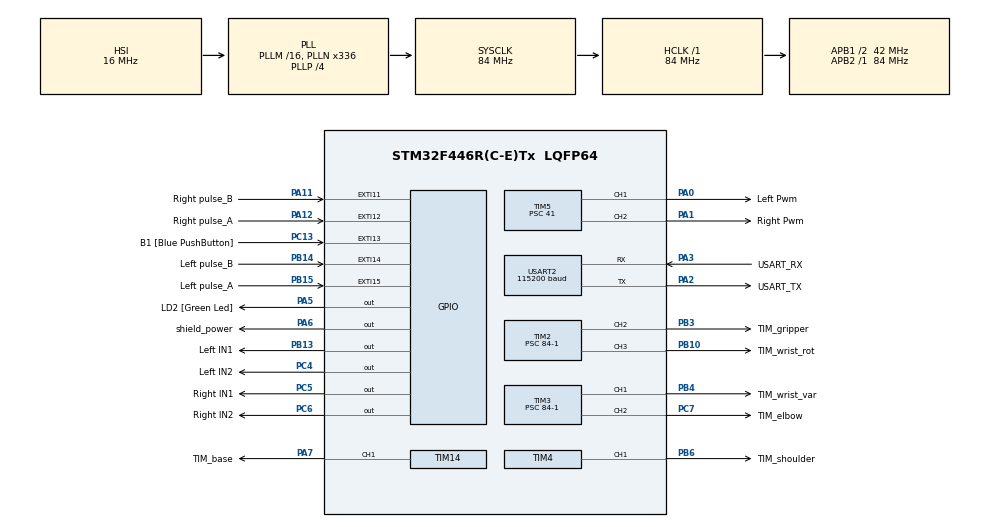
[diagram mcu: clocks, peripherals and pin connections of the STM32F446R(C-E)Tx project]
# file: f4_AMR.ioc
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Mcu.Family=STM32F4
Mcu.Name=STM32F446R(C-E)Tx
Mcu.Package=LQFP64
NVIC.EXTI15_10_IRQn=true\:0\:1\:false\:false\:true\:true\:true\:true
NVIC.PriorityGroup=NVIC_PRIORITYGROUP_0
NVIC.TIM2_IRQn=true\:0\:1\:true\:false\:true\:true\:true\:true
NVIC.TIM3_IRQn=true\:0\:1\:false\:false\:true\:true\:true\:true
NVIC.TIM4_IRQn=true\:0\:1\:false\:false\:true\:true\:true\:true
NVIC.TIM5_IRQn=true\:0\:1\:false\:false\:true\:true\:true\:true
NVIC.TIM8_TRG_COM_TIM14_IRQn=true\:0\:1\:false\:false\:true\:true\:true\:true
NVIC.USART2_IRQn=true\:0\:0\:false\:false\:true\:true\:true\:true
PA0-WKUP.GPIO_Label=Left Pwm
PA0-WKUP.Signal=S_TIM5_CH1
PA1.GPIO_Label=Right Pwm
PA1.Signal=S_TIM5_CH2
PA11.GPIO_Label=Right pulse_B
PA11.GPIO_ModeDefaultEXTI=GPIO_MODE_IT_RISING_FALLING
PA11.Signal=GPXTI11
PA12.GPIO_Label=Right pulse_A
PA12.GPIO_ModeDefaultEXTI=GPIO_MODE_IT_RISING_FALLING
PA12.GPIO_PuPd=GPIO_NOPULL
PA12.Signal=GPXTI12
PA13.GPIO_Label=TMS
PA13.Mode=Serial_Wire
PA13.Signal=SYS_JTMS-SWDIO
PA14.GPIO_Label=TCK
PA14.Mode=Serial_Wire
PA14.Signal=SYS_JTCK-SWCLK
PA2.GPIO_Label=USART_TX
PA2.Mode=Asynchronous
PA2.Signal=USART2_TX
PA3.GPIO_Label=USART_RX
PA3.Mode=Asynchronous
PA3.Signal=USART2_RX
PA5.GPIO_Label=LD2 [Green Led]
PA5.Signal=GPIO_Output
PA6.GPIO_Label=shield_power
PA6.Signal=GPIO_Output
PA7.GPIO_Label=TIM_base
PA7.Signal=S_TIM14_CH1
PB10.GPIO_Label=TIM_wrist_rot
PB10.Signal=S_TIM2_CH3
PB13.GPIO_Label=Left IN1
PB13.Signal=GPIO_Output
PB14.GPIO_Label=Left pulse_B
PB14.GPIO_ModeDefaultEXTI=GPIO_MODE_IT_RISING_FALLING
PB14.Signal=GPXTI14
PB15.GPIO_Label=Left pulse_A
PB15.GPIO_ModeDefaultEXTI=GPIO_MODE_IT_RISING_FALLING
PB15.Signal=GPXTI15
PB3.GPIO_Label=TIM_gripper
PB3.Signal=S_TIM2_CH2
PB4.GPIO_Label=TIM_wrist_var
PB4.Signal=S_TIM3_CH1
PB6.GPIO_Label=TIM_shoulder
PB6.Signal=S_TIM4_CH1
PC13.GPIO_Label=B1 [Blue PushButton]
PC13.GPIO_ModeDefaultEXTI=GPIO_MODE_IT_FALLING
PC13.Signal=GPXTI13
PC14-OSC32_IN.Mode=LSE-External-Oscillator
PC14-OSC32_IN.Signal=RCC_OSC32_IN
PC15-OSC32_OUT.Mode=LSE-External-Oscillator
PC15-OSC32_OUT.Signal=RCC_OSC32_OUT
PC4.GPIO_Label=Left IN2
PC4.Signal=GPIO_Output
PC5.GPIO_Label=Right IN1
PC5.Signal=GPIO_Output
PC6.GPIO_Label=Right IN2
PC6.Signal=GPIO_Output
PC7.GPIO_Label=TIM_elbow
PC7.Signal=S_TIM3_CH2
PH0-OSC_IN.Mode=HSE-External-Oscillator
PH0-OSC_IN.Signal=RCC_OSC_IN
PH1-OSC_OUT.Mode=HSE-External-Oscillator
PH1-OSC_OUT.Signal=RCC_OSC_OUT
ProjectManager.HeapSize=0x200
ProjectManager.StackSize=0x400
ProjectManager.TargetToolchain=STM32CubeIDE
RCC.48MHZClocksFreq_Value=84000000
RCC.AHBFreq_Value=84000000
RCC.APB1CLKDivider=RCC_HCLK_DIV2
RCC.APB1Freq_Value=42000000
RCC.APB1TimFreq_Value=84000000
RCC.APB2Freq_Value=84000000
RCC.APB2TimFreq_Value=84000000
RCC.CortexFreq_Value=84000000
RCC.FLatency-AdvancedSettings=FLASH_LATENCY_2
RCC.HCLKFreq_Value=84000000
RCC.HSE_VALUE=8000000
RCC.HSI_VALUE=16000000
RCC.PLLN=336
RCC.PLLP=RCC_PLLP_DIV4
RCC.SYSCLKFreq_VALUE=84000000
RCC.SYSCLKSource=RCC_SYSCLKSOURCE_PLLCLK
RCC.USBFreq_Value=168000000
RCC.VCOOutputFreq_Value=336000000
SH.S_TIM14_CH1.0=TIM14_CH1,PWM Generation1 CH1
SH.S_TIM2_CH2.0=TIM2_CH2,PWM Generation2 CH2
SH.S_TIM2_CH3.0=TIM2_CH3,PWM Generation3 CH3
SH.S_TIM3_CH1.0=TIM3_CH1,PWM Generation1 CH1
SH.S_TIM3_CH2.0=TIM3_CH2,PWM Generation2 CH2
SH.S_TIM4_CH1.0=TIM4_CH1,PWM Generation1 CH1
SH.S_TIM5_CH1.0=TIM5_CH1,PWM Generation1 CH1
SH.S_TIM5_CH2.0=TIM5_CH2,PWM Generation2 CH2
TIM14.Channel=TIM_CHANNEL_1
TIM14.Period=20000-1
TIM14.Prescaler=84-1
TIM2.Channel-PWM\ Generation2\ CH2=TIM_CHANNEL_2
TIM2.Channel-PWM\ Generation3\ CH3=TIM_CHANNEL_3
TIM2.Period=20000-1
TIM2.Prescaler=84-1
TIM2.Pulse-PWM\ Generation3\ CH3=0
TIM3.Channel-PWM\ Generation1\ CH1=TIM_CHANNEL_1
TIM3.Channel-PWM\ Generation2\ CH2=TIM_CHANNEL_2
TIM3.Period=20000-1
TIM3.Prescaler=84-1
TIM4.Channel-PWM\ Generation1\ CH1=TIM_CHANNEL_1
TIM4.Period=20000-1
TIM4.Prescaler=84-1
TIM5.Channel-PWM\ Generation1\ CH1=TIM_CHANNEL_1
TIM5.Channel-PWM\ Generation2\ CH2=TIM_CHANNEL_2
TIM5.Period=255
TIM5.Prescaler=41
USART2.BaudRate=115200
USART2.VirtualMode=VM_ASYNC
VP_TIM14_VS_ClockSourceINT.Mode=Enable_Timer
VP_TIM2_VS_ClockSourceINT.Mode=Internal
VP_TIM3_VS_ClockSourceINT.Mode=Internal
VP_TIM4_VS_ClockSourceINT.Mode=Internal
board=NUCLEO-F446RE

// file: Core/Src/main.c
/* USER CODE BEGIN Header */
/**
 ******************************************************************************
 * @file           : main.c
 * @brief          : Main program body
 ******************************************************************************
 * @attention
 *
 * Copyright (c) 2024 STMicroelectronics.
 * All rights reserved.
 *
 * This software is licensed under terms that can be found in the LICENSE file
 * in the root directory of this software component.
 * If no LICENSE file comes with this software, it is provided AS-IS.
 *
 ******************************************************************************
 */
/* USER CODE END Header */
#include "main.h"

/* USER CODE BEGIN Includes */
#include <stdio.h>
#include <math.h>
#include <stdlib.h>
#include <string.h>
#include "stm32f4xx.h"
/* USER CODE END Includes */

/* USER CODE BEGIN PTD */
/*SR431*/
#define MIN_PULSE 500
#define MAX_PULSE 4000

#define MOTOR1_MIN_ANGLE 0
#define MOTOR1_MAX_ANGLE 180

#define MOTOR2_MIN_ANGLE 15
#define MOTOR2_MAX_ANGLE 165

#define MOTOR3_MIN_ANGLE 0
#define MOTOR3_MAX_ANGLE 180

#define MOTOR4_MIN_ANGLE 0
#define MOTOR4_MAX_ANGLE 180

#define MOTOR5_MIN_ANGLE 0
#define MOTOR5_MAX_ANGLE 180

#define MOTOR6_MIN_ANGLE 10
#define MOTOR6_MAX_ANGLE 73

//#define MOTOR5_MIN_ANGLE 10
//#define MOTOR5_MAX_ANGLE 72
/* USER CODE END PTD */

TIM_HandleTypeDef htim2;
TIM_HandleTypeDef htim3;
TIM_HandleTypeDef htim4;
TIM_HandleTypeDef htim5;
TIM_HandleTypeDef htim14;

UART_HandleTypeDef huart2;

void SystemClock_Config(void);
static void MX_GPIO_Init(void);
static void MX_USART2_UART_Init(void);
static void MX_TIM2_Init(void);
static void MX_TIM3_Init(void);
static void MX_TIM4_Init(void);
static void MX_TIM14_Init(void);
static void MX_TIM5_Init(void);
/* USER CODE BEGIN PFP */
#ifdef __GNUC__
#define PUTCHAR_PROTOTYPE int __io_putchar(int ch)
#else
#define PUTCHAR_PROTOTYPE int fputc(int ch, FILE *f)
#endif

PUTCHAR_PROTOTYPE {
	if (ch == '\n')
		HAL_UART_Transmit(&huart2, (uint8_t*) "\r", 1, 0xFFFF);
	HAL_UART_Transmit(&huart2, (uint8_t*) &ch, 1, 0xFFFF);
	return ch;
}

void Pwm_Left(int pwm_input);
void Pwm_Right(int pwm_input);
void motorControl(int in1, int in2);
void motorControl_r(int in1, int in2);
void check_pwm() ;
void check_pwm_r() ;
void check_move_state();
void check_move_state_r();
void cmd_vel_calculate(void);
uint32_t millis(void);

float radiansToDegrees(float radians);
uint16_t angleToPulse(uint8_t angle);
uint8_t limitAngle(uint8_t angle, uint8_t minAngle, uint8_t maxAngle);
void setMotorAngle(TIM_HandleTypeDef *htim, uint32_t channel, uint8_t angle, uint8_t minAngle, uint8_t maxAngle);
/* USER CODE END PFP */

/* USER CODE BEGIN 0 */
/*********************** Debug ***********************/
double test=0;
double PI=3.14159265359;
/*********************** encoder ***********************/
int targetCount = 3172; //run one cycle
volatile long long int encoderCount = 0;    //left
volatile long long int encoderCount_r = 0;  //right

volatile long long int rpm_encoderCount = 0;
volatile long long int rpm_encoderCount_r = 0;

volatile long long int pr_encoderCount = 0;    //left
volatile long long int pr_encoderCount_r = 0;  //right

double angle = 0.00198082765043492637986295295289; //will fix

double current_angle = 0;
double target_angle = 0;
double current_angle_r = 0;
double target_angle_r = 0;

/********************** PID **************************/
float speed = 0;
float speed_r = 0;
float slowdown = 0;
float slowdown_r = 0;

float Kp = 4, Kd = 1.6, Ki = 8;
float P_term = 0, D_term = 0, I_term = 0;
float pid = 0;

float Kp_a = 5, Kd_a = 1.3, Ki_a = 6.25;
float P_term_a = 0, D_term_a = 0, I_term_a = 0;
float pid_a = 0;

float error = 0;
float previous_error = 0;
float old_error = 0;

float error_a = 0;
float previous_error_a = 0;
float old_error_a = 0;

int stop_flag = 0;
/******************** Dead Reckoning ***********************/
double car_angle = 0;
double current_x = 0;
double current_y = 0;

double last_x = 0;
double last_y = 0;
double last_th = 0;

double previous_car_angle = 0;
double previous_current_x = 0;
double previous_current_y = 0;

double setting_car_angle = 0;
double setting_x = 0;
double setting_y = 0;

double delta_s = 0;
double delta_o = 0;

double last_delta_s = 0;
double last_delta_o = 0;

double input_delta_o = 0;
double pid_delta_o = 0;

double ll = 0.33;  //will fix
double rr = 0.0625; //will fix

/******************** direction *********************/
int control_1 = 0, control_2 = 1;
int control_1_r = 1, control_2_r = 0;

int move_state = 0;  // front:0 back:1
int move_state_r = 0;

/******************** USART *********************/
char rx_buffer[256];
char rx_data;
int rx_index = 0;

char motor_buffer[49];
float motor_degree[6];

double topic_x = 0;
double topic_vth = 0;
double topic_th = 0;
double dt = 0;

double topic_vx = 0;
double topic_vy = 0;

float cmd_vel_x = 0;
float cmd_vel_y = 0;
float cmd_vel_z = 0;

float cmd_vel_s = 0;
float cmd_vel_th = 0;

/******************** Time *********************/
extern volatile uint32_t msTicks;
uint32_t time=0;

/******************** O.W *********************/
float radiansToDegrees(float radians) {
	return radians * (180.0 / M_PI);
}

uint16_t angleToPulse(uint8_t angle) {
	return (MIN_PULSE + (MAX_PULSE - MIN_PULSE) * (angle * 0.55555556) / 180);
}

uint8_t limitAngle(uint8_t angle, uint8_t minAngle, uint8_t maxAngle) {
	if (angle <= minAngle) return minAngle;
	if (angle >= maxAngle) return maxAngle;
	return angle;
}

void setMotorAngle(TIM_HandleTypeDef *htim, uint32_t channel, uint8_t angle, uint8_t minAngle, uint8_t maxAngle) {
	uint8_t limitedAngle = limitAngle(angle, minAngle, maxAngle);
	uint16_t pulse = angleToPulse(limitedAngle);
	__HAL_TIM_SET_COMPARE(htim, channel, pulse);
}
/* USER CODE END 0 */

int main(void)
{

  /* MCU Configuration--------------------------------------------------------*/

  /* Reset of all peripherals, Initializes the Flash interface and the Systick. */
  HAL_Init();

  /* Configure the system clock */
  SystemClock_Config();

  /* Initialize all configured peripherals */
  MX_GPIO_Init();
  MX_USART2_UART_Init();
  MX_TIM2_Init();
  MX_TIM3_Init();
  MX_TIM4_Init();
  MX_TIM14_Init();
  MX_TIM5_Init();
  /* USER CODE BEGIN 2 */
	HAL_GPIO_WritePin(GPIOA, shield_power_Pin, GPIO_PIN_SET);
	HAL_TIM_Base_Start_IT(&htim2);
	HAL_TIM_PWM_Start(&htim2, TIM_CHANNEL_2);
	HAL_TIM_PWM_Start(&htim2, TIM_CHANNEL_3);
	HAL_TIM_PWM_Start(&htim3, TIM_CHANNEL_1);
	HAL_TIM_PWM_Start(&htim3, TIM_CHANNEL_2);
	HAL_TIM_PWM_Start(&htim4, TIM_CHANNEL_1);
	HAL_TIM_PWM_Start(&htim14, TIM_CHANNEL_1);
	HAL_TIM_PWM_Start(&htim5, TIM_CHANNEL_1);
	HAL_TIM_PWM_Start(&htim5, TIM_CHANNEL_2);

	motorControl(control_1, control_2);
	motorControl_r(control_1_r, control_2_r);
	SystemCoreClockUpdate();
	SysTick_Config(SystemCoreClock / 1000);
	HAL_UART_Receive_IT(&huart2, (uint8_t*) &rx_data, 1);

  /* USER CODE END 2 */

  /* Infinite loop */
  /* USER CODE BEGIN WHILE */
	while (1)
	{

		motorControl(control_1, control_2);
		motorControl_r(control_1_r, control_2_r);

		Pwm_Left(abs(speed));
		Pwm_Right(abs(speed_r));

		/******************** Dead Reckoning ***********************/
		if(msTicks>=39){
			time=msTicks;
			current_angle = ((rpm_encoderCount - pr_encoderCount) * angle);
			current_angle_r = ((rpm_encoderCount_r - pr_encoderCount_r) * angle);

			pr_encoderCount=rpm_encoderCount;
			pr_encoderCount_r=rpm_encoderCount_r;

			delta_s = ((current_angle_r + current_angle) * rr) / 2;
			delta_o = ((current_angle_r - current_angle) * rr) / ll;
			input_delta_o = previous_car_angle + (delta_o / 2); //Real

			current_x = previous_current_x + cos((input_delta_o)) * delta_s;
			current_y = previous_current_y + sin((input_delta_o)) * delta_s;
			car_angle = previous_car_angle + delta_o;

			pid_delta_o = delta_o;
			dt = time;

			topic_x = delta_s/(dt / 1000.0);
			topic_th = car_angle;
			topic_vth=(car_angle-previous_car_angle)*1000/dt;

			printf("# %f %f %f %f %f %f | %f %f %f %f %f %f \n",current_x,current_y,topic_th,dt,topic_x,topic_vth, motor_degree[0], motor_degree[1], motor_degree[2], motor_degree[3], motor_degree[4], motor_degree[5]);

			previous_car_angle = car_angle;
			previous_current_x = current_x;
			previous_current_y = current_y;

			encoderCount = 0;
			encoderCount_r = 0;

			last_delta_s = sqrt((current_x - last_x) * (current_x - last_x) + (current_y - last_y) * (current_y - last_y));
			last_delta_o = (car_angle - last_th);

			/******************** PID ***********************/
			error = (cmd_vel_s - (delta_s / 0.039));
			error_a = (cmd_vel_th - (pid_delta_o / 0.039));
			P_term = (error - previous_error) * Kp;
			D_term = (error - 2 * previous_error + old_error) * Kd;
			I_term = error * Ki;
			pid = P_term + D_term + I_term;

			P_term_a = (error_a - previous_error_a) * Kp_a;
			D_term_a = (error_a - 2 * previous_error_a + old_error_a) * Kd_a;
			I_term_a = error_a * Ki_a;
			pid_a = P_term_a + D_term_a + I_term_a;
			if (stop_flag == 0) {
				speed = speed + pid - pid_a;
				speed_r = speed_r + pid + pid_a;
			} else {
				speed = speed - (speed) / 5;
				speed_r = speed_r - (speed_r) / 5;
			}

			old_error = previous_error;
			old_error_a = previous_error_a;
			previous_error = error;
			previous_error_a = error_a;

			check_pwm();
			check_pwm_r();

			check_move_state();
			check_move_state_r();

			cmd_vel_calculate();

		}

    /* USER CODE END WHILE */

	}
}

void SystemClock_Config(void)
{
  RCC_OscInitTypeDef RCC_OscInitStruct = {0};
  RCC_ClkInitTypeDef RCC_ClkInitStruct = {0};

  /** Configure the main internal regulator output voltage
  */
  __HAL_RCC_PWR_CLK_ENABLE();
  __HAL_PWR_VOLTAGESCALING_CONFIG(PWR_REGULATOR_VOLTAGE_SCALE3);

  /** Initializes the RCC Oscillators according to the specified parameters
  * in the RCC_OscInitTypeDef structure.
  */
  RCC_OscInitStruct.OscillatorType = RCC_OSCILLATORTYPE_HSI;
  RCC_OscInitStruct.HSIState = RCC_HSI_ON;
  RCC_OscInitStruct.HSICalibrationValue = RCC_HSICALIBRATION_DEFAULT;
  RCC_OscInitStruct.PLL.PLLState = RCC_PLL_ON;
  RCC_OscInitStruct.PLL.PLLSource = RCC_PLLSOURCE_HSI;
  RCC_OscInitStruct.PLL.PLLM = 16;
  RCC_OscInitStruct.PLL.PLLN = 336;
  RCC_OscInitStruct.PLL.PLLP = RCC_PLLP_DIV4;
  RCC_OscInitStruct.PLL.PLLQ = 2;
  RCC_OscInitStruct.PLL.PLLR = 2;
  if (HAL_RCC_OscConfig(&RCC_OscInitStruct) != HAL_OK)
  {
    Error_Handler();
  }

  /** Initializes the CPU, AHB and APB buses clocks
  */
  RCC_ClkInitStruct.ClockType = RCC_CLOCKTYPE_HCLK|RCC_CLOCKTYPE_SYSCLK
                              |RCC_CLOCKTYPE_PCLK1|RCC_CLOCKTYPE_PCLK2;
  RCC_ClkInitStruct.SYSCLKSource = RCC_SYSCLKSOURCE_PLLCLK;
  RCC_ClkInitStruct.AHBCLKDivider = RCC_SYSCLK_DIV1;
  RCC_ClkInitStruct.APB1CLKDivider = RCC_HCLK_DIV2;
  RCC_ClkInitStruct.APB2CLKDivider = RCC_HCLK_DIV1;

  if (HAL_RCC_ClockConfig(&RCC_ClkInitStruct, FLASH_LATENCY_2) != HAL_OK)
  {
    Error_Handler();
  }
}

static void MX_TIM2_Init(void)
{

  TIM_ClockConfigTypeDef sClockSourceConfig = {0};
  TIM_MasterConfigTypeDef sMasterConfig = {0};
  TIM_OC_InitTypeDef sConfigOC = {0};

  htim2.Instance = TIM2;
  htim2.Init.Prescaler = 84-1;
  htim2.Init.CounterMode = TIM_COUNTERMODE_UP;
  htim2.Init.Period = 20000-1;
  htim2.Init.ClockDivision = TIM_CLOCKDIVISION_DIV1;
  htim2.Init.AutoReloadPreload = TIM_AUTORELOAD_PRELOAD_DISABLE;
  if (HAL_TIM_Base_Init(&htim2) != HAL_OK)
  {
    Error_Handler();
  }
  sClockSourceConfig.ClockSource = TIM_CLOCKSOURCE_INTERNAL;
  if (HAL_TIM_ConfigClockSource(&htim2, &sClockSourceConfig) != HAL_OK)
  {
    Error_Handler();
  }
  if (HAL_TIM_PWM_Init(&htim2) != HAL_OK)
  {
    Error_Handler();
  }
  sMasterConfig.MasterOutputTrigger = TIM_TRGO_RESET;
  sMasterConfig.MasterSlaveMode = TIM_MASTERSLAVEMODE_DISABLE;
  if (HAL_TIMEx_MasterConfigSynchronization(&htim2, &sMasterConfig) != HAL_OK)
  {
    Error_Handler();
  }
  sConfigOC.OCMode = TIM_OCMODE_PWM1;
  sConfigOC.Pulse = 0;
  sConfigOC.OCPolarity = TIM_OCPOLARITY_HIGH;
  sConfigOC.OCFastMode = TIM_OCFAST_DISABLE;
  if (HAL_TIM_PWM_ConfigChannel(&htim2, &sConfigOC, TIM_CHANNEL_2) != HAL_OK)
  {
    Error_Handler();
  }
  if (HAL_TIM_PWM_ConfigChannel(&htim2, &sConfigOC, TIM_CHANNEL_3) != HAL_OK)
  {
    Error_Handler();
  }
  HAL_TIM_MspPostInit(&htim2);

}

static void MX_TIM3_Init(void)
{

  TIM_ClockConfigTypeDef sClockSourceConfig = {0};
  TIM_MasterConfigTypeDef sMasterConfig = {0};
  TIM_OC_InitTypeDef sConfigOC = {0};

  htim3.Instance = TIM3;
  htim3.Init.Prescaler = 84-1;
  htim3.Init.CounterMode = TIM_COUNTERMODE_UP;
  htim3.Init.Period = 20000-1;
  htim3.Init.ClockDivision = TIM_CLOCKDIVISION_DIV1;
  htim3.Init.AutoReloadPreload = TIM_AUTORELOAD_PRELOAD_DISABLE;
  if (HAL_TIM_Base_Init(&htim3) != HAL_OK)
  {
    Error_Handler();
  }
  sClockSourceConfig.ClockSource = TIM_CLOCKSOURCE_INTERNAL;
  if (HAL_TIM_ConfigClockSource(&htim3, &sClockSourceConfig) != HAL_OK)
  {
    Error_Handler();
  }
  if (HAL_TIM_PWM_Init(&htim3) != HAL_OK)
  {
    Error_Handler();
  }
  sMasterConfig.MasterOutputTrigger = TIM_TRGO_RESET;
  sMasterConfig.MasterSlaveMode = TIM_MASTERSLAVEMODE_DISABLE;
  if (HAL_TIMEx_MasterConfigSynchronization(&htim3, &sMasterConfig) != HAL_OK)
  {
    Error_Handler();
  }
  sConfigOC.OCMode = TIM_OCMODE_PWM1;
  sConfigOC.Pulse = 0;
  sConfigOC.OCPolarity = TIM_OCPOLARITY_HIGH;
  sConfigOC.OCFastMode = TIM_OCFAST_DISABLE;
  if (HAL_TIM_PWM_ConfigChannel(&htim3, &sConfigOC, TIM_CHANNEL_1) != HAL_OK)
  {
    Error_Handler();
  }
  if (HAL_TIM_PWM_ConfigChannel(&htim3, &sConfigOC, TIM_CHANNEL_2) != HAL_OK)
  {
    Error_Handler();
  }
  HAL_TIM_MspPostInit(&htim3);

}

static void MX_TIM4_Init(void)
{

  TIM_ClockConfigTypeDef sClockSourceConfig = {0};
  TIM_MasterConfigTypeDef sMasterConfig = {0};
  TIM_OC_InitTypeDef sConfigOC = {0};

  htim4.Instance = TIM4;
  htim4.Init.Prescaler = 84-1;
  htim4.Init.CounterMode = TIM_COUNTERMODE_UP;
  htim4.Init.Period = 20000-1;
  htim4.Init.ClockDivision = TIM_CLOCKDIVISION_DIV1;
  htim4.Init.AutoReloadPreload = TIM_AUTORELOAD_PRELOAD_DISABLE;
  if (HAL_TIM_Base_Init(&htim4) != HAL_OK)
  {
    Error_Handler();
  }
  sClockSourceConfig.ClockSource = TIM_CLOCKSOURCE_INTERNAL;
  if (HAL_TIM_ConfigClockSource(&htim4, &sClockSourceConfig) != HAL_OK)
  {
    Error_Handler();
  }
  if (HAL_TIM_PWM_Init(&htim4) != HAL_OK)
  {
    Error_Handler();
  }
  sMasterConfig.MasterOutputTrigger = TIM_TRGO_RESET;
  sMasterConfig.MasterSlaveMode = TIM_MASTERSLAVEMODE_DISABLE;
  if (HAL_TIMEx_MasterConfigSynchronization(&htim4, &sMasterConfig) != HAL_OK)
  {
    Error_Handler();
  }
  sConfigOC.OCMode = TIM_OCMODE_PWM1;
  sConfigOC.Pulse = 0;
  sConfigOC.OCPolarity = TIM_OCPOLARITY_HIGH;
  sConfigOC.OCFastMode = TIM_OCFAST_DISABLE;
  if (HAL_TIM_PWM_ConfigChannel(&htim4, &sConfigOC, TIM_CHANNEL_1) != HAL_OK)
  {
    Error_Handler();
  }
  HAL_TIM_MspPostInit(&htim4);

}

static void MX_TIM5_Init(void)
{

  TIM_MasterConfigTypeDef sMasterConfig = {0};
  TIM_OC_InitTypeDef sConfigOC = {0};

  htim5.Instance = TIM5;
  htim5.Init.Prescaler = 41;
  htim5.Init.CounterMode = TIM_COUNTERMODE_UP;
  htim5.Init.Period = 255;
  htim5.Init.ClockDivision = TIM_CLOCKDIVISION_DIV1;
  htim5.Init.AutoReloadPreload = TIM_AUTORELOAD_PRELOAD_DISABLE;
  if (HAL_TIM_PWM_Init(&htim5) != HAL_OK)
  {
    Error_Handler();
  }
  sMasterConfig.MasterOutputTrigger = TIM_TRGO_RESET;
  sMasterConfig.MasterSlaveMode = TIM_MASTERSLAVEMODE_DISABLE;
  if (HAL_TIMEx_MasterConfigSynchronization(&htim5, &sMasterConfig) != HAL_OK)
  {
    Error_Handler();
  }
  sConfigOC.OCMode = TIM_OCMODE_PWM1;
  sConfigOC.Pulse = 0;
  sConfigOC.OCPolarity = TIM_OCPOLARITY_HIGH;
  sConfigOC.OCFastMode = TIM_OCFAST_DISABLE;
  if (HAL_TIM_PWM_ConfigChannel(&htim5, &sConfigOC, TIM_CHANNEL_1) != HAL_OK)
  {
    Error_Handler();
  }
  if (HAL_TIM_PWM_ConfigChannel(&htim5, &sConfigOC, TIM_CHANNEL_2) != HAL_OK)
  {
    Error_Handler();
  }
  HAL_TIM_MspPostInit(&htim5);

}

static void MX_TIM14_Init(void)
{

  TIM_OC_InitTypeDef sConfigOC = {0};

  htim14.Instance = TIM14;
  htim14.Init.Prescaler = 84-1;
  htim14.Init.CounterMode = TIM_COUNTERMODE_UP;
  htim14.Init.Period = 20000-1;
  htim14.Init.ClockDivision = TIM_CLOCKDIVISION_DIV1;
  htim14.Init.AutoReloadPreload = TIM_AUTORELOAD_PRELOAD_DISABLE;
  if (HAL_TIM_Base_Init(&htim14) != HAL_OK)
  {
    Error_Handler();
  }
  if (HAL_TIM_PWM_Init(&htim14) != HAL_OK)
  {
    Error_Handler();
  }
  sConfigOC.OCMode = TIM_OCMODE_PWM1;
  sConfigOC.Pulse = 0;
  sConfigOC.OCPolarity = TIM_OCPOLARITY_HIGH;
  sConfigOC.OCFastMode = TIM_OCFAST_DISABLE;
  if (HAL_TIM_PWM_ConfigChannel(&htim14, &sConfigOC, TIM_CHANNEL_1) != HAL_OK)
  {
    Error_Handler();
  }
  HAL_TIM_MspPostInit(&htim14);

}

static void MX_USART2_UART_Init(void)
{

  huart2.Instance = USART2;
  huart2.Init.BaudRate = 115200;
  huart2.Init.WordLength = UART_WORDLENGTH_8B;
  huart2.Init.StopBits = UART_STOPBITS_1;
  huart2.Init.Parity = UART_PARITY_NONE;
  huart2.Init.Mode = UART_MODE_TX_RX;
  huart2.Init.HwFlowCtl = UART_HWCONTROL_NONE;
  huart2.Init.OverSampling = UART_OVERSAMPLING_16;
  if (HAL_UART_Init(&huart2) != HAL_OK)
  {
    Error_Handler();
  }

}

static void MX_GPIO_Init(void)
{
  GPIO_InitTypeDef GPIO_InitStruct = {0};

  /* GPIO Ports Clock Enable */
  __HAL_RCC_GPIOC_CLK_ENABLE();
  __HAL_RCC_GPIOH_CLK_ENABLE();
  __HAL_RCC_GPIOA_CLK_ENABLE();
  __HAL_RCC_GPIOB_CLK_ENABLE();

  /*Configure GPIO pin Output Level */
  HAL_GPIO_WritePin(GPIOA, LD2_Pin|shield_power_Pin, GPIO_PIN_RESET);

  /*Configure GPIO pin Output Level */
  HAL_GPIO_WritePin(GPIOC, Left_IN2_Pin|Right_IN1_Pin|Right_IN2_Pin, GPIO_PIN_RESET);

  /*Configure GPIO pin Output Level */
  HAL_GPIO_WritePin(Left_IN1_GPIO_Port, Left_IN1_Pin, GPIO_PIN_RESET);

  /*Configure GPIO pin : B1_Pin */
  GPIO_InitStruct.Pin = B1_Pin;
  GPIO_InitStruct.Mode = GPIO_MODE_IT_FALLING;
  GPIO_InitStruct.Pull = GPIO_NOPULL;
  HAL_GPIO_Init(B1_GPIO_Port, &GPIO_InitStruct);

  /*Configure GPIO pins : LD2_Pin shield_power_Pin */
  GPIO_InitStruct.Pin = LD2_Pin|shield_power_Pin;
  GPIO_InitStruct.Mode = GPIO_MODE_OUTPUT_PP;
  GPIO_InitStruct.Pull = GPIO_NOPULL;
  GPIO_InitStruct.Speed = GPIO_SPEED_FREQ_LOW;
  HAL_GPIO_Init(GPIOA, &GPIO_InitStruct);

  /*Configure GPIO pins : Left_IN2_Pin Right_IN1_Pin Right_IN2_Pin */
  GPIO_InitStruct.Pin = Left_IN2_Pin|Right_IN1_Pin|Right_IN2_Pin;
  GPIO_InitStruct.Mode = GPIO_MODE_OUTPUT_PP;
  GPIO_InitStruct.Pull = GPIO_NOPULL;
  GPIO_InitStruct.Speed = GPIO_SPEED_FREQ_LOW;
  HAL_GPIO_Init(GPIOC, &GPIO_InitStruct);

  /*Configure GPIO pin : Left_IN1_Pin */
  GPIO_InitStruct.Pin = Left_IN1_Pin;
  GPIO_InitStruct.Mode = GPIO_MODE_OUTPUT_PP;
  GPIO_InitStruct.Pull = GPIO_NOPULL;
  GPIO_InitStruct.Speed = GPIO_SPEED_FREQ_LOW;
  HAL_GPIO_Init(Left_IN1_GPIO_Port, &GPIO_InitStruct);

  /*Configure GPIO pins : Left_pulse_B_Pin Left_pulse_A_Pin */
  GPIO_InitStruct.Pin = Left_pulse_B_Pin|Left_pulse_A_Pin;
  GPIO_InitStruct.Mode = GPIO_MODE_IT_RISING_FALLING;
  GPIO_InitStruct.Pull = GPIO_NOPULL;
  HAL_GPIO_Init(GPIOB, &GPIO_InitStruct);

  /*Configure GPIO pins : Right_pulse_B_Pin Right_pulse_A_Pin */
  GPIO_InitStruct.Pin = Right_pulse_B_Pin|Right_pulse_A_Pin;
  GPIO_InitStruct.Mode = GPIO_MODE_IT_RISING_FALLING;
  GPIO_InitStruct.Pull = GPIO_NOPULL;
  HAL_GPIO_Init(GPIOA, &GPIO_InitStruct);

  /* EXTI interrupt init*/
  HAL_NVIC_SetPriority(EXTI15_10_IRQn, 0, 1);
  HAL_NVIC_EnableIRQ(EXTI15_10_IRQn);

}

/* USER CODE BEGIN 4 */
/**
 * @brief  PWM을 통해 모터에 입력하는 함수
 * @note   최대값 255 ->100%속도
 * @param  pwm_input: 입력되는 값.
 */
void Pwm_Left(int pwm_input) {
	htim5.Instance->CCR1 = pwm_input;
}
/**
 * @brief  PWM을 통해 모터에 입력하는 함수
 * @note   최대값 255 ->100%속도
 * @param  pwm_input: 입력되는 값.
 */
void Pwm_Right(int pwm_input) {
	htim5.Instance->CCR2 = pwm_input;
}
/**
 * @brief  4채배 엔코더 펄스 카운터
 * @note   1바퀴 = 3172=CPR*채배*기어비=13*4*61.
 * @param  GPIO_Pin: Rising edge or Falling edge 가 발생한 핀
 */
void HAL_GPIO_EXTI_Callback(uint16_t GPIO_Pin) {
	/* Prevent unused argument(s) compilation warning */

	if (GPIO_Pin == Left_pulse_A_Pin) {
		if (HAL_GPIO_ReadPin(GPIOB, Left_pulse_A_Pin)
				== HAL_GPIO_ReadPin(GPIOB, Left_pulse_B_Pin)) {
			encoderCount--;
			rpm_encoderCount--;

		} else {
			encoderCount++;
			rpm_encoderCount++;
		}
	} else if (GPIO_Pin == Left_pulse_B_Pin) {
		if (HAL_GPIO_ReadPin(GPIOB, Left_pulse_A_Pin)
				== HAL_GPIO_ReadPin(GPIOB, Left_pulse_B_Pin)) {
			encoderCount++;
			rpm_encoderCount++;
		} else {
			encoderCount--;
			rpm_encoderCount--;
		}
	}
	if (GPIO_Pin == Right_pulse_A_Pin) {
		if (HAL_GPIO_ReadPin(GPIOA, Right_pulse_A_Pin)
				== HAL_GPIO_ReadPin(GPIOA, Right_pulse_B_Pin)) {
			encoderCount_r++;
			rpm_encoderCount_r++;
		} else {
			encoderCount_r--;
			rpm_encoderCount_r--;
		}
	} else if (GPIO_Pin == Right_pulse_B_Pin) {
		if (HAL_GPIO_ReadPin(GPIOA, Right_pulse_A_Pin)
				== HAL_GPIO_ReadPin(GPIOA, Right_pulse_B_Pin)) {
			encoderCount_r--;
			rpm_encoderCount_r--;
		} else {
			encoderCount_r++;
			rpm_encoderCount_r++;
		}
	}
	UNUSED(GPIO_Pin);
	/* NOTE: This function Should not be modified, when the callback is needed,
			 the HAL_GPIO_EXTI_Callback could be implemented in the user file */
}
/**
 * @brief  모터 드라이버 제어 코드.
 * @note   1,O ->Forward 0,1->Reverse
 * @param  in1: 모터 드라이버 IN1
 * @param  in2: 모터 드라이버 IN2
 */
void motorControl(int in1, int in2) {
	GPIO_PinState state1=GPIO_PIN_RESET,state2=GPIO_PIN_RESET;
	if(in1==1){
		state1=GPIO_PIN_SET;
	}
	else{
		state1=GPIO_PIN_RESET;
	}
	if(in2==1){
		state2=GPIO_PIN_SET;
	}
	else{
		state2=GPIO_PIN_RESET;
	}
	HAL_GPIO_WritePin(GPIOB, Left_IN1_Pin, state1);
	HAL_GPIO_WritePin(GPIOC, Left_IN2_Pin, state2);

}
/**
 * @brief  모터 드라이버 제어 코드.
 * @note   1,O ->Forward 0,1->Reverse
 * @param  in1: 모터 드라이버 IN1
 * @param  in2: 모터 드라이버 IN2
 */
void motorControl_r(int in1, int in2) {
	GPIO_PinState state1=GPIO_PIN_RESET,state2=GPIO_PIN_RESET;
	if(in1==1){
		state1=GPIO_PIN_SET;
	}
	else{
		state1=GPIO_PIN_RESET;
	}
	if(in2==1){
		state2=GPIO_PIN_SET;
	}
	else{
		state2=GPIO_PIN_RESET;
	}
	HAL_GPIO_WritePin(GPIOC, Right_IN1_Pin, state1);
 	HAL_GPIO_WritePin(GPIOC, Right_IN2_Pin, state2);
}
/**
 * @brief  PWM 입력값 범위 제한 함수.
 * @note   -180 ~ 180
 */
void check_pwm() {
	if (speed >= 180) {
		speed = 180;
	} else if (speed <= -180) {
		speed = -180;
	}
}
/**
 * @brief  PWM 입력값 범위 제한 함수.
 * @note   -180 ~ 180
 */
void check_pwm_r() {
	if (speed_r >= 180) {
		speed_r = 180;
	} else if (speed_r <= -180) {
		speed_r = -180;
	}
}
/**
 * @brief  현재 입력 속도에 따라 회전 방향 변경함.
 * @note   전역변수 control_x를 수정하는 방식임
 */
void check_move_state() {
	if (speed >= 0) {
		move_state = 0;
		control_1 = 0, control_2 = 1;
	} else {
		move_state = 1;
		control_1 = 1, control_2 = 0;
	}
}
/**
 * @brief  현재 입력 속도에 따라 회전 방향 변경함.
 * @note   전역변수 control_x_r 를 수정하는 방식임
 */
void check_move_state_r() {
	if (speed_r >= 0) {
		move_state_r = 0;
		control_1_r = 1, control_2_r = 0;
	} else {
		move_state_r = 1;
		control_1_r = 0, control_2_r = 1;
	}
}
/**
 * @brief  선속도 각속도 변수전달 함수
 * @note   0,0 주어진경우 정지
 */
void cmd_vel_calculate(void) {
	cmd_vel_s = cmd_vel_x;
	cmd_vel_th = cmd_vel_z;
	if (cmd_vel_x == 0 && cmd_vel_z == 0) {
		stop_flag = 1;
	} else {
		stop_flag = 0;
	}
}
/**
 * @brief  Arduino millis와 동일한 함수
 * @note   stm32f4xx_it.c 참조
 */
uint32_t millis(void) {
	return msTicks;
}
/**
 * @brief  mstick 초기화함수
 * @note   if(msTicks>변수) -->변수 수정하면 주기 바뀜
 */
void HAL_TIM_PeriodElapsedCallback(TIM_HandleTypeDef *htim) {
	if (htim->Instance == TIM2) {
		if(msTicks>39){
			msTicks = 0;
		}
	}
}

void HAL_UART_RxCpltCallback(UART_HandleTypeDef *huart) {
	if (huart->Instance == USART2) {
		if (rx_data != '\n') {
			rx_buffer[rx_index++] = rx_data;
		}
		else {
			rx_buffer[rx_index] = '\0';
			//printf("Data: %s\n", rx_buffer);

			if (rx_buffer[0] == '1') {
				//printf("[1] Data: %s\n", rx_buffer);

				char first_number[10];

				strncpy(first_number, &rx_buffer[2], 9);
				first_number[10] = '\0';

				cmd_vel_x = atof(first_number);
				if (rx_buffer[1] == '0') { // ?��?��?�� 경우
					cmd_vel_x = -cmd_vel_x;
				}

				char second_number[10];
				strncpy(second_number, &rx_buffer[12], 9);
				second_number[10] = '\0';

				cmd_vel_z = atof(second_number);
				if (rx_buffer[11] == '0') { // ?��?��?�� 경우
					cmd_vel_z = -cmd_vel_z;
				}
			}
			else if (rx_buffer[0] == '2') {
				//printf("[2] Data: %s\n", rx_buffer);

				//Data_import
				for (int i = 0; i < 48; i++) {
					motor_buffer[i] = rx_buffer[i + 1];
				}

				//Slicing Data and char to float
				for (int i = 0; i < 6; i++) {
					char temp[9];

					for (int j = 0; j < 8; j++) {
						temp[j] = motor_buffer[i * 8 + j];
					}
					temp[8] = '\0';

					motor_degree[i] = radiansToDegrees(atof(temp));;
				}

				//move motor
				setMotorAngle(&htim14, TIM_CHANNEL_1, motor_degree[0], MOTOR1_MIN_ANGLE, MOTOR1_MAX_ANGLE);
				setMotorAngle(&htim4, TIM_CHANNEL_1, motor_degree[1], MOTOR2_MIN_ANGLE, MOTOR2_MAX_ANGLE);
				setMotorAngle(&htim3, TIM_CHANNEL_2, motor_degree[2], MOTOR3_MIN_ANGLE, MOTOR3_MAX_ANGLE);
				setMotorAngle(&htim2, TIM_CHANNEL_3, motor_degree[3], MOTOR4_MIN_ANGLE, MOTOR4_MAX_ANGLE);
				setMotorAngle(&htim3, TIM_CHANNEL_1, motor_degree[4], MOTOR5_MIN_ANGLE, MOTOR5_MAX_ANGLE);
				setMotorAngle(&htim2, TIM_CHANNEL_2, motor_degree[5], MOTOR6_MIN_ANGLE, MOTOR6_MAX_ANGLE);
			}
			else if (rx_buffer[0] == '3') {
				NVIC_SystemReset();

			}

			//reset huart2 buffer
			rx_index = 0;
			memset(rx_buffer, 0, sizeof(rx_buffer));
		}
	}
	HAL_UART_Receive_IT(&huart2, (uint8_t*) &rx_data, 1);
}

/* USER CODE END 4 */

void Error_Handler(void)
{
	__disable_irq();
	while (1)
	{
	}
}
